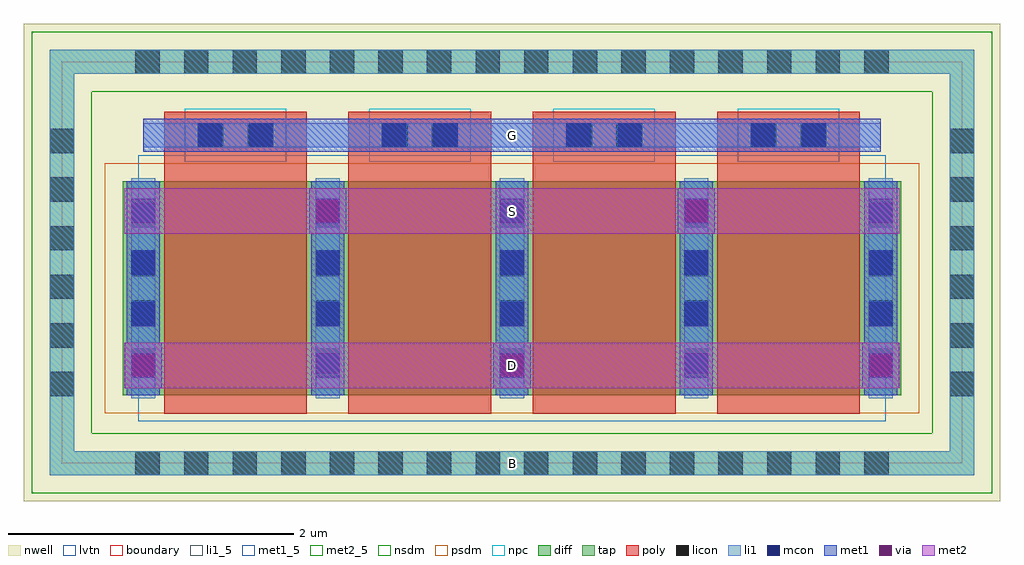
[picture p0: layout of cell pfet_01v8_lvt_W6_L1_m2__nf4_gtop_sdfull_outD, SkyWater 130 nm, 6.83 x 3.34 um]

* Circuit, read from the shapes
.subckt pfet_01v8_lvt_W6_L1_m2__nf4_gtop_sdfull_outD B D G S
XM1 S G D B sky130_fd_pr__pfet_01v8_lvt w=1.5 l=1 m=4
.ends

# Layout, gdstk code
import gdstk
lib = gdstk.Library(unit=1e-6, precision=1e-09)
def R(c, l, rs):  # rectangles x0, y0, x1, y1
    for r in rs: c.add(gdstk.rectangle(r[:2], r[2:], *l))
def A(c, l, x, y, w, h, nx, ny, dx, dy):  # array of equal rectangles
    R(c, l, [(x+i*dx, y+j*dy, x+i*dx+w, y+j*dy+h) for i in range(nx) for j in range(ny)])
nwell = (64, 20)
diff = (65, 20)
tap = (65, 44)
poly = (66, 20)
licon = (66, 44)
li1_5 = (67, 5)
li1 = (67, 20)
mcon = (67, 44)
met1_5 = (68, 5)
met1 = (68, 20)
via = (68, 44)
met2_5 = (69, 5)
met2 = (69, 20)
nsdm = (93, 44)
psdm = (94, 20)
npc = (95, 20)
lvtn = (125, 44)
boundary = (235, 4)

sky130_fd_pr__pfet_01v8_ = lib.new_cell('sky130_fd_pr__pfet_01v8_lvt_MDF9JX')
R(sky130_fd_pr__pfet_01v8_, nwell, [(-3.415,-1.67,3.415,1.67)])
R(sky130_fd_pr__pfet_01v8_, diff, [(-2.725,-0.93,2.725,0.57)])
R(sky130_fd_pr__pfet_01v8_, tap, [(-3.235,-1.49,3.235,-1.32), (-3.235,-1.32,-3.065,1.32), (3.065,-1.32,3.235,1.32), (-3.235,1.32,3.235,1.49)])
A(sky130_fd_pr__pfet_01v8_, poly, -2.435, -1.06, 1, 2.115, 4, 1, 1.29, 0)
A(sky130_fd_pr__pfet_01v8_, licon, -2.635, -1.49, 0.17, 0.17, 16, 2, 0.34, 2.81)
A(sky130_fd_pr__pfet_01v8_, licon, -3.235, -0.935, 0.17, 0.17, 1, 6, 0, 0.34)
A(sky130_fd_pr__pfet_01v8_, licon, 3.065, -0.935, 0.17, 0.17, 1, 6, 0, 0.34)
A(sky130_fd_pr__pfet_01v8_, licon, -2.665, -0.775, 0.17, 0.17, 5, 4, 1.29, 0.34)
R(sky130_fd_pr__pfet_01v8_, licon, [(-2.19,0.805,-2.02,0.975), (-1.85,0.805,-1.68,0.975), (-0.9,0.805,-0.73,0.975), (-0.56,0.805,-0.39,0.975), (0.39,0.805,0.56,0.975), (0.73,0.805,0.9,0.975), (1.68,0.805,1.85,0.975), (2.02,0.805,2.19,0.975)])
A(sky130_fd_pr__pfet_01v8_, li1, -2.665, -0.95, 0.17, 1.54, 5, 1, 1.29, 0)
R(sky130_fd_pr__pfet_01v8_, li1, [(-3.235,-1.49,3.235,-1.32), (-3.235,-1.32,-3.065,1.32), (3.065,-1.32,3.235,1.32), (-2.58,0.805,2.58,0.975), (-3.235,1.32,3.235,1.49)])
A(sky130_fd_pr__pfet_01v8_, mcon, -2.665, -0.805, 0.17, 0.17, 5, 4, 1.29, 0.36)
R(sky130_fd_pr__pfet_01v8_, mcon, [(-2.2,0.805,-2.03,0.975), (-1.84,0.805,-1.67,0.975), (-0.91,0.805,-0.74,0.975), (-0.55,0.805,-0.38,0.975), (0.38,0.805,0.55,0.975), (0.74,0.805,0.91,0.975), (1.67,0.805,1.84,0.975), (2.03,0.805,2.2,0.975)])
A(sky130_fd_pr__pfet_01v8_, met1, -2.695, -0.93, 0.23, 1.5, 5, 1, 1.29, 0)
A(sky130_fd_pr__pfet_01v8_, met1, -2.415, 0.775, 0.96, 0.03, 4, 2, 1.29, 0.2)
R(sky130_fd_pr__pfet_01v8_, met1, [(-2.58,0.805,2.58,0.975)])
R(sky130_fd_pr__pfet_01v8_, nsdm, [(-3.36,-1.615,3.36,-1.195), (-3.36,-1.195,-2.94,1.195), (2.94,-1.195,3.36,1.195), (-3.36,1.195,3.36,1.615)])
R(sky130_fd_pr__pfet_01v8_, psdm, [(-2.85,-1.055,2.85,0.695)])
A(sky130_fd_pr__pfet_01v8_, npc, -2.29, 0.705, 0.71, 0.37, 4, 1, 1.29, 0)
R(sky130_fd_pr__pfet_01v8_, lvtn, [(-2.615,-1.11,2.615,0.75)])
R(sky130_fd_pr__pfet_01v8_, boundary, [(-3.15,-1.405,3.15,1.405)])
sky130_fd_pr__pfet_01v8_.add(gdstk.Label('B', (0,-1.405), layer=67, texttype=5))
sky130_fd_pr__pfet_01v8_.add(gdstk.Label('D0', (-2.58,-0.18), layer=67, texttype=5))
sky130_fd_pr__pfet_01v8_.add(gdstk.Label('G', (1.935,0.89), layer=67, texttype=5))
sky130_fd_pr__pfet_01v8_.add(gdstk.Label('G', (0.645,0.89), layer=67, texttype=5))
sky130_fd_pr__pfet_01v8_.add(gdstk.Label('G', (-0.645,0.89), layer=67, texttype=5))
sky130_fd_pr__pfet_01v8_.add(gdstk.Label('G', (-1.935,0.89), layer=67, texttype=5))
sky130_fd_pr__pfet_01v8_.add(gdstk.Label('S1', (-1.29,-0.18), layer=67, texttype=5))
sky130_fd_pr__pfet_01v8_.add(gdstk.Label('D2', (0,-0.18), layer=67, texttype=5))
sky130_fd_pr__pfet_01v8_.add(gdstk.Label('S3', (1.29,-0.18), layer=67, texttype=5))

pfet_01v8_lvt_w6_l1_m2__ = lib.new_cell('pfet_01v8_lvt_W6_L1_m2__nf4_gtop_sdfull_outD')
R(pfet_01v8_lvt_w6_l1_m2__, li1_5, [(3.065,-0.085,3.235,0.085)])
R(pfet_01v8_lvt_w6_l1_m2__, li1, [(3.065,-0.085,3.235,0.085)])
R(pfet_01v8_lvt_w6_l1_m2__, met1_5, [(0.57,2.18,5.73,2.41)])
A(pfet_01v8_lvt_w6_l1_m2__, met1, 0.44, 0.525, 0.26, 0.32, 3, 1, 2.58, 0)
R(pfet_01v8_lvt_w6_l1_m2__, met1, [(1.73,1.605,1.99,1.925), (4.31,1.605,4.57,1.925), (0.57,2.18,5.73,2.41)])
A(pfet_01v8_lvt_w6_l1_m2__, via, 0.495, 0.61, 0.15, 0.15, 3, 1, 2.58, 0)
R(pfet_01v8_lvt_w6_l1_m2__, via, [(1.785,1.69,1.935,1.84), (4.365,1.69,4.515,1.84)])
R(pfet_01v8_lvt_w6_l1_m2__, met2_5, [(0.435,0.525,5.865,0.845), (0.435,1.605,5.865,1.925)])
R(pfet_01v8_lvt_w6_l1_m2__, met2, [(0.435,0.525,5.865,0.845), (0.435,1.605,5.865,1.925)])
pfet_01v8_lvt_w6_l1_m2__.add(gdstk.Reference(sky130_fd_pr__pfet_01v8_, (3.15,1.405)))
pfet_01v8_lvt_w6_l1_m2__.add(gdstk.Label('S', (3.15,1.765), layer=69, texttype=5))
pfet_01v8_lvt_w6_l1_m2__.add(gdstk.Label('D', (3.15,0.685), layer=69, texttype=5))
pfet_01v8_lvt_w6_l1_m2__.add(gdstk.Label('G', (3.15,2.295), layer=68, texttype=5))
pfet_01v8_lvt_w6_l1_m2__.add(gdstk.Label('B', (3.15,0), layer=67, texttype=5))

lib.write_gds('pfet_01v8_lvt_W6_L1_m2__nf4_gtop_sdfull_outD.gds')
